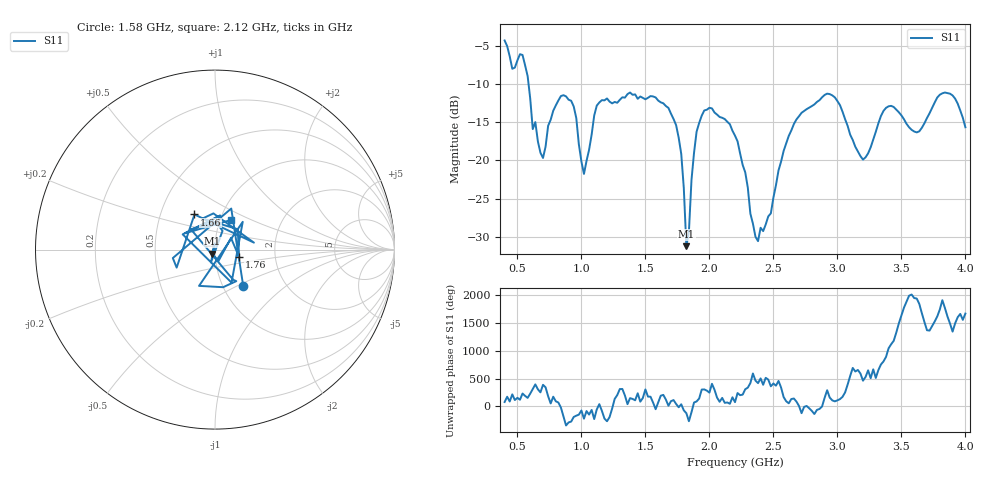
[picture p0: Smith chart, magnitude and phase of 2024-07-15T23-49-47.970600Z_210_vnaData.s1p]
!Created with skrf (http://scikit-rf.org).
# Hz S RI R 50.0
!freq ReS11 ImS11
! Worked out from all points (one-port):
!   181 points, 400 MHz to 4 GHz, reference 50 ohm
!   lowest |S11| = -31.2 dB at 1.82 GHz (marker M1), VSWR 1.06, Z = 48.4 - j2.19 ohm
!   |S11| at or under -10 dB: 586.9 MHz to end of sweep
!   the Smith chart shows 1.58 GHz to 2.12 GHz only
!   S11 on the Smith chart (normalised r, x): 1.58 GHz: 1.24, -0.54; 1.66 GHz: 0.74, +0.31; 1.76 GHz: 1.31, -0.11; 2.12 GHz: 1.12, +0.38
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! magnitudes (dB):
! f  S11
! 400 MHz  -4.3
! 460 MHz  -8.0
! 540 MHz  -6.2
! 620 MHz  -15.9
! 700 MHz  -19.7
! 860 MHz  -11.5
! 940 MHz  -13.0
! 1.02 GHz  -21.8
! 1.12 GHz  -12.8
! 1.3 GHz  -12.1
! 1.58 GHz  -11.8
! 1.66 GHz  -12.9
! 1.76 GHz  -17.0
! 1.8 GHz  -23.6
! 1.82 GHz  -31.2
! 1.88 GHz  -19.0
! 1.92 GHz  -15.1
! 2.12 GHz  -14.6
! 2.2 GHz  -16.8
! 2.38 GHz  -30.5
! 2.66 GHz  -15.2
! 2.94 GHz  -11.3
! 3.1 GHz  -16.6
! 3.2 GHz  -19.9
! 3.38 GHz  -13.1
! 3.56 GHz  -15.7
! 3.84 GHz  -11.1
! 4 GHz  -15.7
